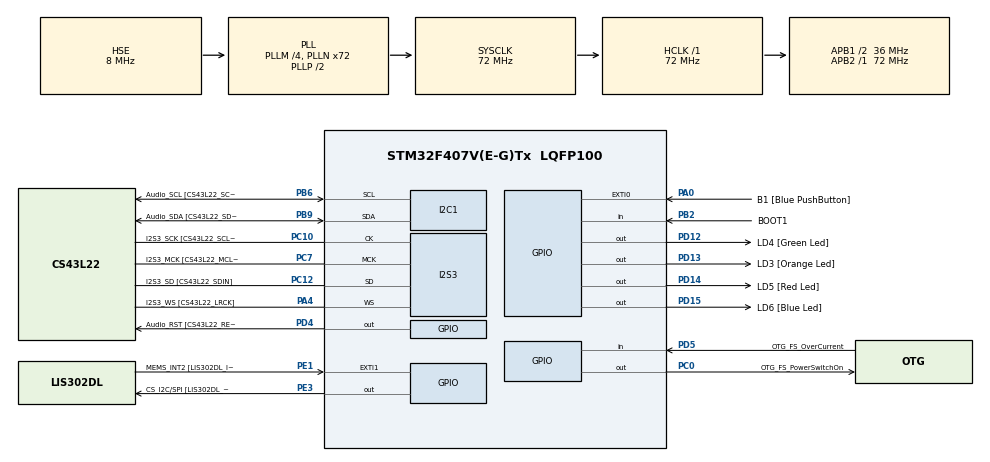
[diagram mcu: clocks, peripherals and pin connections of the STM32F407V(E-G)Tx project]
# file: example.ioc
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I2S3.ErrorAudioFreq=-0.27 %
I2S3.FullDuplexMode=I2S_FULLDUPLEXMODE_DISABLE
I2S3.Instance=SPI$Index
I2S3.RealAudioFreq=7.978 KHz
I2S3.VirtualMode=I2S_MODE_MASTER
Mcu.Family=STM32F4
Mcu.Name=STM32F407V(E-G)Tx
Mcu.Package=LQFP100
NVIC.PriorityGroup=NVIC_PRIORITYGROUP_0
NVIC.TIM4_IRQn=true\:0\:0\:false\:false\:true\:true
PA0-WKUP.GPIO_Label=B1 [Blue PushButton]
PA0-WKUP.Signal=GPXTI0
PA10.GPIO_Label=OTG_FS_ID
PA10.GPIO_Mode=GPIO_MODE_AF_PP
PA10.GPIO_PuPd=GPIO_NOPULL
PA10.GPIO_Speed=GPIO_SPEED_FREQ_LOW
PA10.Signal=USB_OTG_FS_ID
PA11.GPIO_Label=OTG_FS_DM
PA11.GPIO_Mode=GPIO_MODE_AF_PP
PA11.GPIO_PuPd=GPIO_NOPULL
PA11.GPIO_Speed=GPIO_SPEED_FREQ_LOW
PA11.Signal=USB_OTG_FS_DM
PA12.GPIO_Label=OTG_FS_DP
PA12.GPIO_Mode=GPIO_MODE_AF_PP
PA12.GPIO_PuPd=GPIO_NOPULL
PA12.GPIO_Speed=GPIO_SPEED_FREQ_LOW
PA12.Signal=USB_OTG_FS_DP
PA13.GPIO_Label=SWDIO
PA13.Signal=SYS_JTMS-SWDIO
PA14.GPIO_Label=SWCLK
PA14.Signal=SYS_JTCK-SWCLK
PA4.GPIO_Label=I2S3_WS [CS43L22_LRCK]
PA4.GPIO_Mode=GPIO_MODE_AF_PP
PA4.GPIO_PuPd=GPIO_NOPULL
PA4.GPIO_Speed=GPIO_SPEED_FREQ_LOW
PA4.Mode=Half_Duplex_Master
PA4.Signal=I2S3_WS
PA5.GPIO_Label=SPI1_SCK [LIS302DL_SCL/SPC]
PA5.GPIO_Mode=GPIO_MODE_AF_PP
PA5.GPIO_PuPd=GPIO_NOPULL
PA5.GPIO_Speed=GPIO_SPEED_FREQ_LOW
PA5.Signal=SPI1_SCK
PA6.GPIO_Label=SPI1_MISO [LIS302DL_SDO]
PA6.GPIO_Mode=GPIO_MODE_AF_PP
PA6.GPIO_PuPd=GPIO_NOPULL
PA6.GPIO_Speed=GPIO_SPEED_FREQ_LOW
PA6.Signal=SPI1_MISO
PA7.GPIO_Label=SPI1_MOSI [LIS302DL_SDA/SDI/SDO]
PA7.GPIO_Mode=GPIO_MODE_AF_PP
PA7.GPIO_PuPd=GPIO_NOPULL
PA7.GPIO_Speed=GPIO_SPEED_FREQ_LOW
PA7.Signal=SPI1_MOSI
PA9.GPIO_Label=VBUS_FS
PA9.GPIO_Mode=GPIO_MODE_INPUT
PA9.GPIO_PuPd=GPIO_NOPULL
PA9.Signal=USB_OTG_FS_VBUS
PB10.GPIO_Label=CLK_IN [MP45DT02_CLK]
PB10.GPIO_Mode=GPIO_MODE_AF_PP
PB10.GPIO_PuPd=GPIO_NOPULL
PB10.GPIO_Speed=GPIO_SPEED_FREQ_LOW
PB10.Signal=I2S2_CK
PB2.GPIO_Label=BOOT1
PB2.GPIO_Mode=GPIO_MODE_INPUT
PB2.GPIO_PuPd=GPIO_NOPULL
PB2.Signal=GPIO_Input
PB3.GPIO_Label=SWO
PB3.Signal=SYS_JTDO-SWO
PB6.GPIO_Label=Audio_SCL [CS43L22_SCL]
PB6.GPIO_Mode=GPIO_MODE_AF_OD
PB6.GPIO_PuPd=GPIO_NOPULL
PB6.GPIO_Speed=GPIO_SPEED_FREQ_LOW
PB6.Mode=I2C
PB6.Signal=I2C1_SCL
PB9.GPIO_Label=Audio_SDA [CS43L22_SDA]
PB9.GPIO_Mode=GPIO_MODE_AF_OD
PB9.GPIO_PuPd=GPIO_NOPULL
PB9.GPIO_Speed=GPIO_SPEED_FREQ_LOW
PB9.Mode=I2C
PB9.Signal=I2C1_SDA
PC0.GPIO_Label=OTG_FS_PowerSwitchOn
PC0.GPIO_PuPd=GPIO_NOPULL
PC0.GPIO_Speed=GPIO_SPEED_FREQ_LOW
PC0.PinState=GPIO_PIN_SET
PC0.Signal=GPIO_Output
PC10.GPIO_Label=I2S3_SCK [CS43L22_SCLK]
PC10.GPIO_Mode=GPIO_MODE_AF_PP
PC10.GPIO_PuPd=GPIO_NOPULL
PC10.GPIO_Speed=GPIO_SPEED_FREQ_LOW
PC10.Mode=Half_Duplex_Master
PC10.Signal=I2S3_CK
PC12.GPIO_Label=I2S3_SD [CS43L22_SDIN]
PC12.GPIO_Mode=GPIO_MODE_AF_PP
PC12.GPIO_PuPd=GPIO_NOPULL
PC12.GPIO_Speed=GPIO_SPEED_FREQ_LOW
PC12.Mode=Half_Duplex_Master
PC12.Signal=I2S3_SD
PC14-OSC32_IN.GPIO_Label=PC14-OSC32_IN
PC14-OSC32_IN.Signal=RCC_OSC32_IN
PC15-OSC32_OUT.GPIO_Label=PC15-OSC32_OUT
PC15-OSC32_OUT.Signal=RCC_OSC32_OUT
PC3.GPIO_Label=PDM_OUT [MP45DT02_DOUT]
PC3.GPIO_Mode=GPIO_MODE_AF_PP
PC3.GPIO_PuPd=GPIO_NOPULL
PC3.GPIO_Speed=GPIO_SPEED_FREQ_LOW
PC3.Signal=I2S2_SD
PC7.GPIO_Label=I2S3_MCK [CS43L22_MCLK]
PC7.GPIO_Mode=GPIO_MODE_AF_PP
PC7.GPIO_PuPd=GPIO_NOPULL
PC7.GPIO_Speed=GPIO_SPEED_FREQ_LOW
PC7.Mode=Master_Clock_Activated
PC7.Signal=I2S3_MCK
PD12.GPIO_Label=LD4 [Green Led]
PD12.GPIO_PuPd=GPIO_NOPULL
PD12.GPIO_Speed=GPIO_SPEED_FREQ_LOW
PD12.Signal=GPIO_Output
PD13.GPIO_Label=LD3 [Orange Led]
PD13.GPIO_PuPd=GPIO_NOPULL
PD13.GPIO_Speed=GPIO_SPEED_FREQ_LOW
PD13.Signal=GPIO_Output
PD14.GPIO_Label=LD5 [Red Led]
PD14.GPIO_PuPd=GPIO_NOPULL
PD14.GPIO_Speed=GPIO_SPEED_FREQ_LOW
PD14.Signal=GPIO_Output
PD15.GPIO_Label=LD6 [Blue Led]
PD15.GPIO_PuPd=GPIO_NOPULL
PD15.GPIO_Speed=GPIO_SPEED_FREQ_LOW
PD15.Signal=GPIO_Output
PD4.GPIO_Label=Audio_RST [CS43L22_RESET]
PD4.GPIO_PuPd=GPIO_NOPULL
PD4.GPIO_Speed=GPIO_SPEED_FREQ_LOW
PD4.Signal=GPIO_Output
PD5.GPIO_Label=OTG_FS_OverCurrent
PD5.GPIO_Mode=GPIO_MODE_INPUT
PD5.GPIO_PuPd=GPIO_NOPULL
PD5.Signal=GPIO_Input
PE1.GPIO_Label=MEMS_INT2 [LIS302DL_INT2]
PE1.GPIO_ModeDefaultEXTI=GPIO_MODE_EVT_RISING
PE1.GPIO_PuPd=GPIO_NOPULL
PE1.Signal=GPXTI1
PE3.GPIO_Label=CS_I2C/SPI [LIS302DL_CS_I2C/SPI]
PE3.GPIO_PuPd=GPIO_NOPULL
PE3.GPIO_Speed=GPIO_SPEED_FREQ_LOW
PE3.Signal=GPIO_Output
PH0-OSC_IN.GPIO_Label=PH0-OSC_IN
PH0-OSC_IN.Mode=HSE-External-Oscillator
PH0-OSC_IN.Signal=RCC_OSC_IN
PH1-OSC_OUT.GPIO_Label=PH1-OSC_OUT
PH1-OSC_OUT.Mode=HSE-External-Oscillator
PH1-OSC_OUT.Signal=RCC_OSC_OUT
ProjectManager.HeapSize=0x400
ProjectManager.StackSize=0x800
ProjectManager.TargetToolchain=EWARM
RCC.48MHZClocksFreq_Value=48000000
RCC.AHBFreq_Value=72000000
RCC.APB1CLKDivider=RCC_HCLK_DIV2
RCC.APB1Freq_Value=36000000
RCC.APB1TimFreq_Value=72000000
RCC.APB2Freq_Value=72000000
RCC.APB2TimFreq_Value=72000000
RCC.CortexFreq_Value=72000000
RCC.HCLKFreq_Value=72000000
RCC.HSE_VALUE=8000000
RCC.HSI_VALUE=16000000
RCC.LSE_VALUE=32768
RCC.PLLM=4
RCC.PLLN=72
RCC.PLLQ=3
RCC.PLLSourceVirtual=RCC_PLLSOURCE_HSE
RCC.SYSCLKFreq_VALUE=72000000
RCC.SYSCLKSource=RCC_SYSCLKSOURCE_PLLCLK
RCC.VCOOutputFreq_Value=144000000
TIM4.Period=9999
TIM4.Prescaler=7199
VP_TIM4_VS_ClockSourceINT.Mode=Internal
board=STM32F4DISCOVERY

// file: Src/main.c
/**
  ******************************************************************************
  * File Name          : main.c
  * Description        : Main program body
  ******************************************************************************
  ** This notice applies to any and all portions of this file
  * that are not between comment pairs USER CODE BEGIN and
  * USER CODE END. Other portions of this file, whether
  * inserted by the user or by software development tools
  * are owned by their respective copyright owners.
  *
  * COPYRIGHT(c) 2018 STMicroelectronics
  *
  * Redistribution and use in source and binary forms, with or without modification,
  * are permitted provided that the following conditions are met:
  *   1. Redistributions of source code must retain the above copyright notice,
  *      this list of conditions and the following disclaimer.
  *   2. Redistributions in binary form must reproduce the above copyright notice,
  *      this list of conditions and the following disclaimer in the documentation
  *      and/or other materials provided with the distribution.
  *   3. Neither the name of STMicroelectronics nor the names of its contributors
  *      may be used to endorse or promote products derived from this software
  *      without specific prior written permission.
  *
  * THIS SOFTWARE IS PROVIDED BY THE COPYRIGHT HOLDERS AND CONTRIBUTORS "AS IS"
  * AND ANY EXPRESS OR IMPLIED WARRANTIES, INCLUDING, BUT NOT LIMITED TO, THE
  * IMPLIED WARRANTIES OF MERCHANTABILITY AND FITNESS FOR A PARTICULAR PURPOSE ARE
  * DISCLAIMED. IN NO EVENT SHALL THE COPYRIGHT HOLDER OR CONTRIBUTORS BE LIABLE
  * FOR ANY DIRECT, INDIRECT, INCIDENTAL, SPECIAL, EXEMPLARY, OR CONSEQUENTIAL
  * DAMAGES (INCLUDING, BUT NOT LIMITED TO, PROCUREMENT OF SUBSTITUTE GOODS OR
  * SERVICES; LOSS OF USE, DATA, OR PROFITS; OR BUSINESS INTERRUPTION) HOWEVER
  * CAUSED AND ON ANY THEORY OF LIABILITY, WHETHER IN CONTRACT, STRICT LIABILITY,
  * OR TORT (INCLUDING NEGLIGENCE OR OTHERWISE) ARISING IN ANY WAY OUT OF THE USE
  * OF THIS SOFTWARE, EVEN IF ADVISED OF THE POSSIBILITY OF SUCH DAMAGE.
  *
  ******************************************************************************
  */

#include "main.h"
#include "stm32f4xx_hal.h"

I2C_HandleTypeDef hi2c1;

I2S_HandleTypeDef hi2s3;

TIM_HandleTypeDef htim4;

/* USER CODE BEGIN PV */
/* Private variables ---------------------------------------------------------*/

int sdflag;

HAL_StatusTypeDef BUF[5];
uint8_t buf[50];
uint16_t buff[300];
uint8_t DATA_POWER_CTRL1 = 0x9E;		// power up
uint8_t DATA_POWER_CTRL2 = 0xAA;		// headphone power
uint8_t DATA_BEEP_CONFIG1 = 0x84;		// beep ontime
uint8_t DATA_BEEP_CONFIG3[2] = {0x00, 0xE0};		// beep on
uint8_t DATA_MST = 0x18;
uint8_t DATA_PCM = 0x18;

uint8_t temp;

uint8_t READ_POWER_CTRL1;		// power up
uint8_t READ_POWER_CTRL2;		// headphone power
uint8_t READ_BEEP_CONFIG1;		// beep ontime
uint8_t READ_BEEP_CONFIG3;		// beep on
uint8_t READ_Status;

/* USER CODE END PV */

void SystemClock_Config(void);
static void MX_GPIO_Init(void);
static void MX_I2S3_Init(void);
static void MX_I2C1_Init(void);
static void MX_TIM4_Init(void);

/* USER CODE BEGIN PFP */
/* Private function prototypes -----------------------------------------------*/
/* USER CODE END PFP */

int main(void)
{

  /* MCU Configuration----------------------------------------------------------*/

  /* Reset of all peripherals, Initializes the Flash interface and the Systick. */
  HAL_Init();

  /* Configure the system clock */
  SystemClock_Config();

  /* Initialize all configured peripherals */
  MX_GPIO_Init();
  MX_I2S3_Init();
  MX_I2C1_Init();
  MX_TIM4_Init();

  /* USER CODE BEGIN 2 */
  HAL_GPIO_WritePin(Audio_RST_GPIO_Port, Audio_RST_Pin, GPIO_PIN_RESET);
  HAL_Delay(50);
  HAL_GPIO_WritePin(Audio_RST_GPIO_Port, Audio_RST_Pin, GPIO_PIN_SET);
  uint8_t dummy[3] = {0x99, 0x80, 0x00};
  HAL_I2C_Mem_Write(&hi2c1, ADDR_CHIP_CS43L22, 0x00, I2C_MEMADD_SIZE_8BIT, &dummy[0], 1, 100);
  HAL_I2C_Mem_Write(&hi2c1, ADDR_CHIP_CS43L22, 0x47, I2C_MEMADD_SIZE_8BIT, &dummy[1], 1, 100);
  HAL_I2C_Mem_Write(&hi2c1, ADDR_CHIP_CS43L22, 0x32, I2C_MEMADD_SIZE_8BIT, &dummy[1], 1, 100);
  HAL_I2C_Mem_Write(&hi2c1, ADDR_CHIP_CS43L22, 0x32, I2C_MEMADD_SIZE_8BIT, &dummy[2], 1, 100);
  HAL_I2C_Mem_Write(&hi2c1, ADDR_CHIP_CS43L22, 0x00, I2C_MEMADD_SIZE_8BIT, &dummy[2], 1, 100);
  HAL_I2C_Mem_Write(&hi2c1, ADDR_CHIP_CS43L22, ADDR_REG_POWER_CTRL1, I2C_MEMADD_SIZE_8BIT, &DATA_POWER_CTRL1, 1, 100);

  HAL_I2C_Mem_Write(&hi2c1, ADDR_CHIP_CS43L22, ADDR_REG_POWER_CTRL2, I2C_MEMADD_SIZE_8BIT, &DATA_POWER_CTRL2, 1, 100);

  HAL_TIM_Base_Start_IT(&htim4);
  /* USER CODE END 2 */

  /* Infinite loop */
  while (1)
  {

  }

}

/** System Clock Configuration
*/
void SystemClock_Config(void)
{

  RCC_OscInitTypeDef RCC_OscInitStruct;
  RCC_ClkInitTypeDef RCC_ClkInitStruct;
  RCC_PeriphCLKInitTypeDef PeriphClkInitStruct;

    /**Configure the main internal regulator output voltage
    */
  __HAL_RCC_PWR_CLK_ENABLE();

  __HAL_PWR_VOLTAGESCALING_CONFIG(PWR_REGULATOR_VOLTAGE_SCALE1);

    /**Initializes the CPU, AHB and APB busses clocks
    */
  RCC_OscInitStruct.OscillatorType = RCC_OSCILLATORTYPE_HSE;
  RCC_OscInitStruct.HSEState = RCC_HSE_ON;
  RCC_OscInitStruct.PLL.PLLState = RCC_PLL_ON;
  RCC_OscInitStruct.PLL.PLLSource = RCC_PLLSOURCE_HSE;
  RCC_OscInitStruct.PLL.PLLM = 4;
  RCC_OscInitStruct.PLL.PLLN = 72;
  RCC_OscInitStruct.PLL.PLLP = RCC_PLLP_DIV2;
  RCC_OscInitStruct.PLL.PLLQ = 3;
  if (HAL_RCC_OscConfig(&RCC_OscInitStruct) != HAL_OK)
  {
    _Error_Handler(__FILE__, __LINE__);
  }

    /**Initializes the CPU, AHB and APB busses clocks
    */
  RCC_ClkInitStruct.ClockType = RCC_CLOCKTYPE_HCLK|RCC_CLOCKTYPE_SYSCLK
                              |RCC_CLOCKTYPE_PCLK1|RCC_CLOCKTYPE_PCLK2;
  RCC_ClkInitStruct.SYSCLKSource = RCC_SYSCLKSOURCE_PLLCLK;
  RCC_ClkInitStruct.AHBCLKDivider = RCC_SYSCLK_DIV1;
  RCC_ClkInitStruct.APB1CLKDivider = RCC_HCLK_DIV2;
  RCC_ClkInitStruct.APB2CLKDivider = RCC_HCLK_DIV1;

  if (HAL_RCC_ClockConfig(&RCC_ClkInitStruct, FLASH_LATENCY_2) != HAL_OK)
  {
    _Error_Handler(__FILE__, __LINE__);
  }

  PeriphClkInitStruct.PeriphClockSelection = RCC_PERIPHCLK_I2S;
  PeriphClkInitStruct.PLLI2S.PLLI2SN = 192;
  PeriphClkInitStruct.PLLI2S.PLLI2SR = 2;
  if (HAL_RCCEx_PeriphCLKConfig(&PeriphClkInitStruct) != HAL_OK)
  {
    _Error_Handler(__FILE__, __LINE__);
  }

    /**Configure the Systick interrupt time
    */
  HAL_SYSTICK_Config(HAL_RCC_GetHCLKFreq()/1000);

    /**Configure the Systick
    */
  HAL_SYSTICK_CLKSourceConfig(SYSTICK_CLKSOURCE_HCLK);

  /* SysTick_IRQn interrupt configuration */
  HAL_NVIC_SetPriority(SysTick_IRQn, 0, 0);
}

/* I2C1 init function */
static void MX_I2C1_Init(void)
{

  hi2c1.Instance = I2C1;
  hi2c1.Init.ClockSpeed = 100000;
  hi2c1.Init.DutyCycle = I2C_DUTYCYCLE_2;
  hi2c1.Init.OwnAddress1 = 0;
  hi2c1.Init.AddressingMode = I2C_ADDRESSINGMODE_7BIT;
  hi2c1.Init.DualAddressMode = I2C_DUALADDRESS_DISABLE;
  hi2c1.Init.OwnAddress2 = 0;
  hi2c1.Init.GeneralCallMode = I2C_GENERALCALL_DISABLE;
  hi2c1.Init.NoStretchMode = I2C_NOSTRETCH_DISABLE;
  if (HAL_I2C_Init(&hi2c1) != HAL_OK)
  {
    _Error_Handler(__FILE__, __LINE__);
  }

}

/* I2S3 init function */
static void MX_I2S3_Init(void)
{

  hi2s3.Instance = SPI3;
  hi2s3.Init.Mode = I2S_MODE_MASTER_TX;
  hi2s3.Init.Standard = I2S_STANDARD_PHILIPS;
  hi2s3.Init.DataFormat = I2S_DATAFORMAT_16B;
  hi2s3.Init.MCLKOutput = I2S_MCLKOUTPUT_ENABLE;
  hi2s3.Init.AudioFreq = I2S_AUDIOFREQ_8K;
  hi2s3.Init.CPOL = I2S_CPOL_LOW;
  hi2s3.Init.ClockSource = I2S_CLOCK_PLL;
  hi2s3.Init.FullDuplexMode = I2S_FULLDUPLEXMODE_DISABLE;
  if (HAL_I2S_Init(&hi2s3) != HAL_OK)
  {
    _Error_Handler(__FILE__, __LINE__);
  }

}

/* TIM4 init function */
static void MX_TIM4_Init(void)
{

  TIM_ClockConfigTypeDef sClockSourceConfig;
  TIM_MasterConfigTypeDef sMasterConfig;

  htim4.Instance = TIM4;
  htim4.Init.Prescaler = 7199;
  htim4.Init.CounterMode = TIM_COUNTERMODE_UP;
  htim4.Init.Period = 9999;
  htim4.Init.ClockDivision = TIM_CLOCKDIVISION_DIV1;
  if (HAL_TIM_Base_Init(&htim4) != HAL_OK)
  {
    _Error_Handler(__FILE__, __LINE__);
  }

  sClockSourceConfig.ClockSource = TIM_CLOCKSOURCE_INTERNAL;
  if (HAL_TIM_ConfigClockSource(&htim4, &sClockSourceConfig) != HAL_OK)
  {
    _Error_Handler(__FILE__, __LINE__);
  }

  sMasterConfig.MasterOutputTrigger = TIM_TRGO_RESET;
  sMasterConfig.MasterSlaveMode = TIM_MASTERSLAVEMODE_DISABLE;
  if (HAL_TIMEx_MasterConfigSynchronization(&htim4, &sMasterConfig) != HAL_OK)
  {
    _Error_Handler(__FILE__, __LINE__);
  }

}

/** Configure pins as
        * Analog
        * Input
        * Output
        * EVENT_OUT
        * EXTI
     PC3   ------> I2S2_SD
     PA5   ------> SPI1_SCK
     PA6   ------> SPI1_MISO
     PA7   ------> SPI1_MOSI
     PB10   ------> I2S2_CK
     PA9   ------> USB_OTG_FS_VBUS
     PA10   ------> USB_OTG_FS_ID
     PA11   ------> USB_OTG_FS_DM
     PA12   ------> USB_OTG_FS_DP
*/
static void MX_GPIO_Init(void)
{

  GPIO_InitTypeDef GPIO_InitStruct;

  /* GPIO Ports Clock Enable */
  __HAL_RCC_GPIOE_CLK_ENABLE();
  __HAL_RCC_GPIOC_CLK_ENABLE();
  __HAL_RCC_GPIOH_CLK_ENABLE();
  __HAL_RCC_GPIOA_CLK_ENABLE();
  __HAL_RCC_GPIOB_CLK_ENABLE();
  __HAL_RCC_GPIOD_CLK_ENABLE();

  /*Configure GPIO pin Output Level */
  HAL_GPIO_WritePin(CS_I2C_SPI_GPIO_Port, CS_I2C_SPI_Pin, GPIO_PIN_RESET);

  /*Configure GPIO pin Output Level */
  HAL_GPIO_WritePin(OTG_FS_PowerSwitchOn_GPIO_Port, OTG_FS_PowerSwitchOn_Pin, GPIO_PIN_SET);

  /*Configure GPIO pin Output Level */
  HAL_GPIO_WritePin(GPIOD, LD4_Pin|LD3_Pin|LD5_Pin|LD6_Pin
                          |Audio_RST_Pin, GPIO_PIN_RESET);

  /*Configure GPIO pin : CS_I2C_SPI_Pin */
  GPIO_InitStruct.Pin = CS_I2C_SPI_Pin;
  GPIO_InitStruct.Mode = GPIO_MODE_OUTPUT_PP;
  GPIO_InitStruct.Pull = GPIO_NOPULL;
  GPIO_InitStruct.Speed = GPIO_SPEED_FREQ_LOW;
  HAL_GPIO_Init(CS_I2C_SPI_GPIO_Port, &GPIO_InitStruct);

  /*Configure GPIO pin : OTG_FS_PowerSwitchOn_Pin */
  GPIO_InitStruct.Pin = OTG_FS_PowerSwitchOn_Pin;
  GPIO_InitStruct.Mode = GPIO_MODE_OUTPUT_PP;
  GPIO_InitStruct.Pull = GPIO_NOPULL;
  GPIO_InitStruct.Speed = GPIO_SPEED_FREQ_LOW;
  HAL_GPIO_Init(OTG_FS_PowerSwitchOn_GPIO_Port, &GPIO_InitStruct);

  /*Configure GPIO pin : PDM_OUT_Pin */
  GPIO_InitStruct.Pin = PDM_OUT_Pin;
  GPIO_InitStruct.Mode = GPIO_MODE_AF_PP;
  GPIO_InitStruct.Pull = GPIO_NOPULL;
  GPIO_InitStruct.Speed = GPIO_SPEED_FREQ_LOW;
  GPIO_InitStruct.Alternate = GPIO_AF5_SPI2;
  HAL_GPIO_Init(PDM_OUT_GPIO_Port, &GPIO_InitStruct);

  /*Configure GPIO pin : B1_Pin */
  GPIO_InitStruct.Pin = B1_Pin;
  GPIO_InitStruct.Mode = GPIO_MODE_IT_RISING;
  GPIO_InitStruct.Pull = GPIO_NOPULL;
  HAL_GPIO_Init(B1_GPIO_Port, &GPIO_InitStruct);

  /*Configure GPIO pins : SPI1_SCK_Pin SPI1_MISO_Pin SPI1_MOSI_Pin */
  GPIO_InitStruct.Pin = SPI1_SCK_Pin|SPI1_MISO_Pin|SPI1_MOSI_Pin;
  GPIO_InitStruct.Mode = GPIO_MODE_AF_PP;
  GPIO_InitStruct.Pull = GPIO_NOPULL;
  GPIO_InitStruct.Speed = GPIO_SPEED_FREQ_LOW;
  GPIO_InitStruct.Alternate = GPIO_AF5_SPI1;
  HAL_GPIO_Init(GPIOA, &GPIO_InitStruct);

  /*Configure GPIO pin : BOOT1_Pin */
  GPIO_InitStruct.Pin = BOOT1_Pin;
  GPIO_InitStruct.Mode = GPIO_MODE_INPUT;
  GPIO_InitStruct.Pull = GPIO_NOPULL;
  HAL_GPIO_Init(BOOT1_GPIO_Port, &GPIO_InitStruct);

  /*Configure GPIO pin : CLK_IN_Pin */
  GPIO_InitStruct.Pin = CLK_IN_Pin;
  GPIO_InitStruct.Mode = GPIO_MODE_AF_PP;
  GPIO_InitStruct.Pull = GPIO_NOPULL;
  GPIO_InitStruct.Speed = GPIO_SPEED_FREQ_LOW;
  GPIO_InitStruct.Alternate = GPIO_AF5_SPI2;
  HAL_GPIO_Init(CLK_IN_GPIO_Port, &GPIO_InitStruct);

  /*Configure GPIO pins : LD4_Pin LD3_Pin LD5_Pin LD6_Pin
                           Audio_RST_Pin */
  GPIO_InitStruct.Pin = LD4_Pin|LD3_Pin|LD5_Pin|LD6_Pin
                          |Audio_RST_Pin;
  GPIO_InitStruct.Mode = GPIO_MODE_OUTPUT_PP;
  GPIO_InitStruct.Pull = GPIO_NOPULL;
  GPIO_InitStruct.Speed = GPIO_SPEED_FREQ_LOW;
  HAL_GPIO_Init(GPIOD, &GPIO_InitStruct);

  /*Configure GPIO pin : VBUS_FS_Pin */
  GPIO_InitStruct.Pin = VBUS_FS_Pin;
  GPIO_InitStruct.Mode = GPIO_MODE_INPUT;
  GPIO_InitStruct.Pull = GPIO_NOPULL;
  HAL_GPIO_Init(VBUS_FS_GPIO_Port, &GPIO_InitStruct);

  /*Configure GPIO pins : OTG_FS_ID_Pin OTG_FS_DM_Pin OTG_FS_DP_Pin */
  GPIO_InitStruct.Pin = OTG_FS_ID_Pin|OTG_FS_DM_Pin|OTG_FS_DP_Pin;
  GPIO_InitStruct.Mode = GPIO_MODE_AF_PP;
  GPIO_InitStruct.Pull = GPIO_NOPULL;
  GPIO_InitStruct.Speed = GPIO_SPEED_FREQ_LOW;
  GPIO_InitStruct.Alternate = GPIO_AF10_OTG_FS;
  HAL_GPIO_Init(GPIOA, &GPIO_InitStruct);

  /*Configure GPIO pin : OTG_FS_OverCurrent_Pin */
  GPIO_InitStruct.Pin = OTG_FS_OverCurrent_Pin;
  GPIO_InitStruct.Mode = GPIO_MODE_INPUT;
  GPIO_InitStruct.Pull = GPIO_NOPULL;
  HAL_GPIO_Init(OTG_FS_OverCurrent_GPIO_Port, &GPIO_InitStruct);

  /*Configure GPIO pin : MEMS_INT2_Pin */
  GPIO_InitStruct.Pin = MEMS_INT2_Pin;
  GPIO_InitStruct.Mode = GPIO_MODE_EVT_RISING;
  GPIO_InitStruct.Pull = GPIO_NOPULL;
  HAL_GPIO_Init(MEMS_INT2_GPIO_Port, &GPIO_InitStruct);

}

void _Error_Handler(char * file, int line)
{
  while(1)
  {
  }
}

/************************ (C) COPYRIGHT STMicroelectronics *****END OF FILE****/
